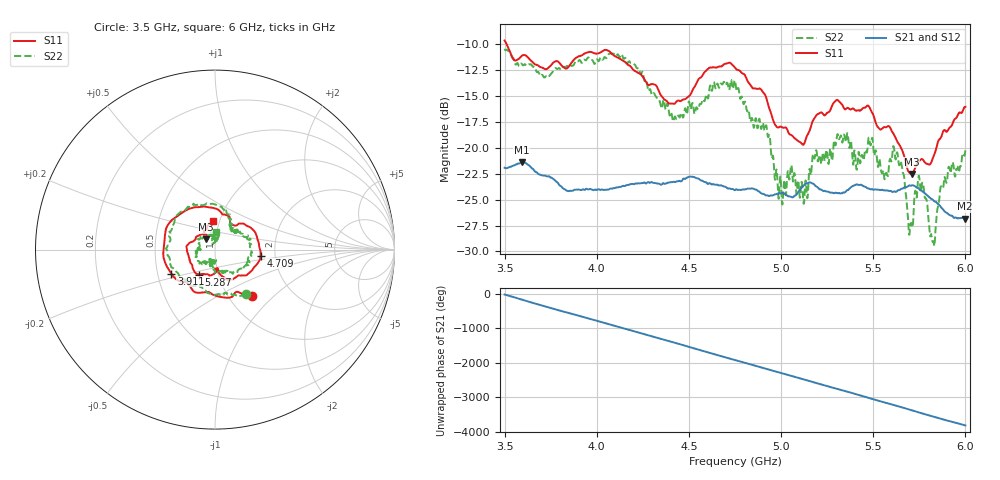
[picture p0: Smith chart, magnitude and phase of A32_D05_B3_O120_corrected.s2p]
! Created with skrf 1.9.0 (http://scikit-rf.org).
# Hz S RI R 50.0
!freq ReS11 ImS11 ReS21 ImS21 ReS12 ImS12 ReS22 ImS22
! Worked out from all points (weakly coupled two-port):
!   1601 points, 3.5 GHz to 6 GHz, reference 50 ohm
!   highest |S21| = -21.41 dB at 3.592 GHz (marker M1); lowest = -26.8 dB at 5.995 GHz (marker M2)
!   lowest |S11| = -22.5 dB at 5.708 GHz (marker M3), VSWR 1.16, Z = 45.1 + j5.14 ohm
!   |S11| at or under -10 dB: 3.511 GHz to end of sweep
!   |S22| runs from -29.5 to -10.4 dB; largest |S21 - S12| = 0.00088
!   S11 on the Smith chart (normalised r, x): 3.5 GHz: 1.27, -0.74; 3.911 GHz: 0.59, -0.17; 4.709 GHz: 1.67, -0.12; 5.287 GHz: 0.81, -0.23; 6 GHz: 0.94, +0.30
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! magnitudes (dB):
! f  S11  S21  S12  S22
! 3.5 GHz  -9.6  -21.9  -21.9  -10.4
! 3.592 GHz  -11.1  -21.4  -21.4  -11.9
! 3.911 GHz  -11.1  -24.1  -24.0  -11.6
! 3.917 GHz  -11.1  -24.1  -24.0  -11.8
! 4.142 GHz  -11.6  -23.7  -23.7  -11.3
! 4.334 GHz  -14.4  -23.4  -23.4  -15.4
! 4.423 GHz  -15.7  -23.3  -23.3  -17.0
! 4.709 GHz  -11.8  -23.9  -23.8  -13.8
! 4.75 GHz  -12.3  -24.1  -24.0  -13.6
! 4.928 GHz  -15.7  -24.6  -24.6  -18.9
! 4.997 GHz  -18.0  -24.4  -24.4  -22.8
! 5.133 GHz  -19.2  -23.5  -23.4  -23.1
! 5.167 GHz  -17.6  -23.4  -23.4  -21.6
! 5.287 GHz  -15.6  -24.4  -24.3  -19.3
! 5.584 GHz  -17.9  -24.2  -24.1  -21.9
! 5.641 GHz  -19.7  -24.1  -24.0  -21.7
! 5.708 GHz  -22.5  -23.6  -23.6  -27.4
! 5.756 GHz  -21.2  -24.1  -24.0  -24.1
! 5.825 GHz  -20.9  -25.0  -25.0  -29.0
! 5.875 GHz  -18.6  -25.9  -25.8  -23.8
! 5.995 GHz  -16.1  -26.8  -26.7  -20.8
! 6 GHz  -16.0  -26.8  -26.7  -20.2
